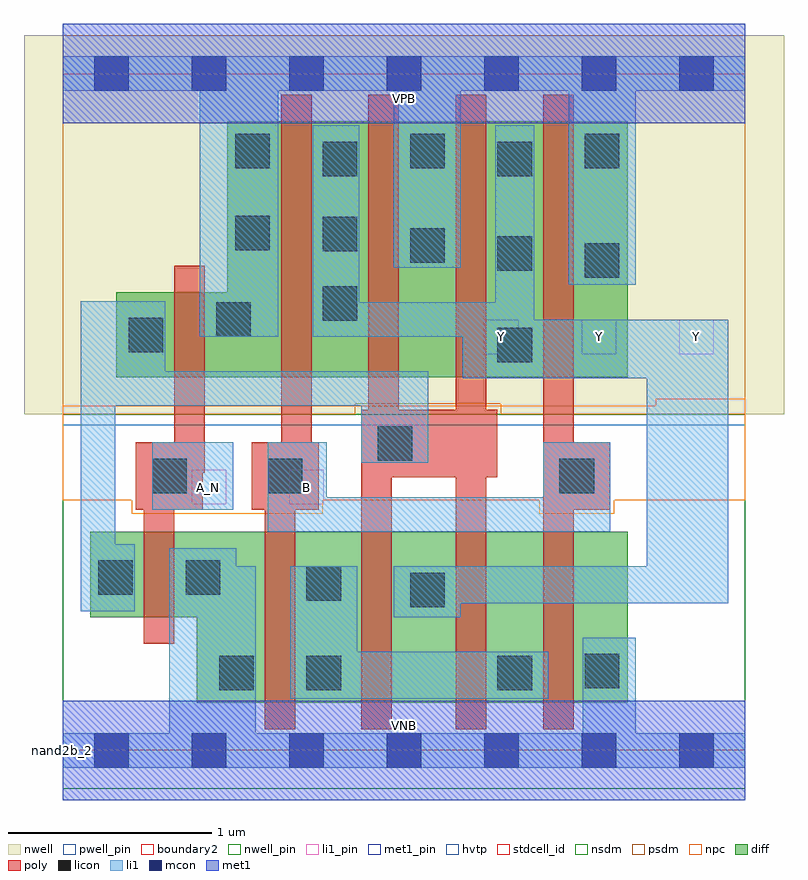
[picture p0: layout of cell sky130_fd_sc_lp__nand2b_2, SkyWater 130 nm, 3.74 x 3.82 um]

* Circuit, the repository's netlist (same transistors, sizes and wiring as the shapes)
* Copyright 2020 The SkyWater PDK Authors
*
* Licensed under the Apache License, Version 2.0 (the "License");
* you may not use this file except in compliance with the License.
* You may obtain a copy of the License at
*
*     https://www.apache.org/licenses/LICENSE-2.0
*
* Unless required by applicable law or agreed to in writing, software
* distributed under the License is distributed on an "AS IS" BASIS,
* WITHOUT WARRANTIES OR CONDITIONS OF ANY KIND, either express or implied.
* See the License for the specific language governing permissions and
* limitations under the License.
*
* SPDX-License-Identifier: Apache-2.0

.SUBCKT sky130_fd_sc_lp__nand2b_2 A_N B VGND VNB VPB VPWR Y
*.PININFO A_N:I B:I VGND:I VNB:I VPB:I VPWR:I Y:O
MMP0 Y A VPWR VPB sky130_fd_pr__pfet_01v8_hvt m=2 w=1.26U l=0.15U mult=1 sa=0.265
+ sb=0.265 sd=0.28 area=0.063 perim=1.14
MMP1 Y B VPWR VPB sky130_fd_pr__pfet_01v8_hvt m=2 w=1.26U l=0.15U mult=1 sa=0.265
+ sb=0.265 sd=0.28 area=0.063 perim=1.14
MMIP0 A A_N VPWR VPB sky130_fd_pr__pfet_01v8_hvt m=1 w=0.42U l=0.15U mult=1 sa=0.265
+ sb=0.265 sd=0.28 area=0.063 perim=1.14
MMN0 Y A sndA VNB sky130_fd_pr__nfet_01v8 m=2 w=0.84U l=0.15U mult=1 sa=0.265 sb=0.265
+ sd=0.28 area=0.063 perim=1.14
MMN1 sndA B VGND VNB sky130_fd_pr__nfet_01v8 m=2 w=0.84U l=0.15U mult=1 sa=0.265
+ sb=0.265 sd=0.28 area=0.063 perim=1.14
MMIN0 A A_N VGND VNB sky130_fd_pr__nfet_01v8 m=1 w=0.42U l=0.15U mult=1 sa=0.265
+ sb=0.265 sd=0.28 area=0.063 perim=1.14
.ENDS sky130_fd_sc_lp__nand2b_2

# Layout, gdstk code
import gdstk
lib = gdstk.Library(unit=1e-6, precision=1e-09)
def R(c, l, rs):  # rectangles x0, y0, x1, y1
    for r in rs: c.add(gdstk.rectangle(r[:2], r[2:], *l))
def A(c, l, x, y, w, h, nx, ny, dx, dy):  # array of equal rectangles
    R(c, l, [(x+i*dx, y+j*dy, x+i*dx+w, y+j*dy+h) for i in range(nx) for j in range(ny)])
def P(c, l, *ps):  # polygons
    for p in ps: c.add(gdstk.Polygon(p, *l))
nwell_pin = (64, 16)
nwell = (64, 20)
diff = (65, 20)
poly = (66, 20)
licon = (66, 44)
li1_pin = (67, 16)
li1 = (67, 20)
mcon = (67, 44)
met1_pin = (68, 16)
met1 = (68, 20)
hvtp = (78, 44)
stdcell_id = (81, 4)
nsdm = (93, 44)
psdm = (94, 20)
npc = (95, 20)
pwell_pin = (122, 16)
boundary2 = (236, 0)

sky130_fd_sc_lp__nand2b_ = lib.new_cell('sky130_fd_sc_lp__nand2b_2')
R(sky130_fd_sc_lp__nand2b_, nwell_pin, [(0,3.085,3.36,3.33)])
R(sky130_fd_sc_lp__nand2b_, nwell, [(-0.19,1.655,3.55,3.52)])
P(sky130_fd_sc_lp__nand2b_, diff, [(2.78,3.095),(0.81,3.095),(0.81,2.255),(0.265,2.255),(0.265,1.835),(2.78,1.835)],
  [(2.78,1.075),(0.135,1.075),(0.135,0.655),(0.66,0.655),(0.66,0.235),(2.78,0.235)])
P(sky130_fd_sc_lp__nand2b_, poly, [(0.7,2.385),(0.55,2.385),(0.55,1.515),(0.36,1.515),(0.36,1.185),(0.4,1.185),(0.4,0.525),(0.55,0.525),(0.55,1.185),(0.69,1.185),(0.69,1.365),(0.7,1.365)],
  [(1.26,1.515),(1.225,1.515),(1.225,3.225),(1.075,3.225),(1.075,1.515),(0.93,1.515),(0.93,1.185),(0.995,1.185),(0.995,0.105),(1.145,0.105),(1.145,1.185),(1.26,1.185)],
  [(2.14,1.675),(2.085,1.675),(2.085,3.225),(1.935,3.225),(1.935,1.675),(1.655,1.675),(1.655,3.225),(1.505,3.225),(1.505,1.675),(1.47,1.675),(1.47,0.105),(1.62,0.105),(1.62,1.345),(1.935,1.345),(1.935,0.105),(2.085,0.105),(2.085,1.345),(2.14,1.345)],
  [(2.695,1.515),(2.515,1.515),(2.515,3.225),(2.365,3.225),(2.365,0.105),(2.515,0.105),(2.515,1.185),(2.695,1.185)])
A(sky130_fd_sc_lp__nand2b_, licon, 0.85, 2.865, 0.17, 0.17, 3, 1, 0.86, 0)
R(sky130_fd_sc_lp__nand2b_, licon, [(0.77,0.295,0.94,0.465), (1.2,0.295,1.37,0.465), (2.14,0.295,2.31,0.465), (2.57,0.305,2.74,0.475), (1.71,0.705,1.88,0.875), (1.2,0.735,1.37,0.905), (0.175,0.765,0.345,0.935), (0.605,0.765,0.775,0.935), (0.44,1.265,0.61,1.435), (1.01,1.265,1.18,1.435), (2.445,1.265,2.615,1.435), (1.55,1.425,1.72,1.595), (2.14,1.91,2.31,2.08), (0.325,1.96,0.495,2.13), (0.755,2.035,0.925,2.205), (1.28,2.115,1.45,2.285), (2.57,2.325,2.74,2.495), (2.14,2.36,2.31,2.53), (1.71,2.4,1.88,2.57), (1.28,2.455,1.45,2.625), (0.85,2.46,1.02,2.63), (1.28,2.825,1.45,2.995), (2.14,2.825,2.31,2.995)])
A(sky130_fd_sc_lp__nand2b_, li1_pin, 2.075, 1.95, 0.17, 0.17, 3, 1, 0.48, 0)
R(sky130_fd_sc_lp__nand2b_, li1_pin, [(0.635,1.21,0.805,1.38), (1.115,1.21,1.285,1.38)])
R(sky130_fd_sc_lp__nand2b_, li1, [(0.44,1.185,0.84,1.515)])
P(sky130_fd_sc_lp__nand2b_, li1, [(1.63,2.375),(1.63,3.245),(1.06,3.245),(1.06,2.035),(0.675,2.035),(0.675,3.245),(0,3.245),(0,3.415),(3.36,3.415),(3.36,3.245),(2.82,3.245),(2.82,2.29),(2.49,2.29),(2.49,3.245),(1.96,3.245),(1.96,2.375)],
  [(3.36,0.085),(2.82,0.085),(2.82,0.555),(2.56,0.555),(2.56,0.085),(0.95,0.085),(0.95,0.905),(0.855,0.905),(0.855,0.995),(0.525,0.995),(0.525,0.085),(0,0.085),(0,-0.085),(3.36,-0.085)],
  [(1.3,1.245),(2.365,1.245),(2.365,1.515),(2.695,1.515),(2.695,1.075),(1.01,1.075),(1.01,1.515),(1.3,1.515)],
  [(0.505,1.865),(1.8,1.865),(1.8,1.415),(1.47,1.415),(1.47,1.695),(0.26,1.695),(0.26,1.015),(0.355,1.015),(0.355,0.685),(0.09,0.685),(0.09,2.21),(0.505,2.21)],
  [(1.45,0.485),(2.39,0.485),(2.39,0.255),(1.12,0.255),(1.12,0.905),(1.45,0.905)],
  [(3.275,2.12),(2.32,2.12),(2.32,3.075),(2.13,3.075),(2.13,2.205),(1.46,2.205),(1.46,3.075),(1.23,3.075),(1.23,2.035),(1.97,2.035),(1.97,1.83),(2.875,1.83),(2.875,0.905),(1.63,0.905),(1.63,0.655),(1.96,0.655),(1.96,0.725),(3.275,0.725)])
A(sky130_fd_sc_lp__nand2b_, mcon, 0.155, -0.085, 0.17, 0.17, 7, 2, 0.48, 3.33)
R(sky130_fd_sc_lp__nand2b_, met1_pin, [(0,0,3.36,0.245), (0,3.085,3.36,3.33)])
R(sky130_fd_sc_lp__nand2b_, met1, [(0,-0.245,3.36,0.245), (0,3.085,3.36,3.575)])
R(sky130_fd_sc_lp__nand2b_, hvtp, [(0,1.6,3.36,3.33)])
R(sky130_fd_sc_lp__nand2b_, stdcell_id, [(0,0,3.36,3.33)])
R(sky130_fd_sc_lp__nand2b_, nsdm, [(0,-0.19,3.36,1.655)])
P(sky130_fd_sc_lp__nand2b_, psdm, [(3.36,3.52),(0,3.52),(0,1.655),(1.44,1.655),(1.44,1.705),(2.155,1.705),(2.155,1.655),(3.36,1.655)])
P(sky130_fd_sc_lp__nand2b_, npc, [(3.36,1.73),(2.92,1.73),(2.92,1.695),(0,1.695),(0,1.23),(0.34,1.23),(0.34,1.165),(1.28,1.165),(1.28,1.23),(2.345,1.23),(2.345,1.165),(2.715,1.165),(2.715,1.23),(3.36,1.23)])
R(sky130_fd_sc_lp__nand2b_, pwell_pin, [(0,0,3.36,0.245)])
R(sky130_fd_sc_lp__nand2b_, boundary2, [(0,0,3.36,3.33)])
sky130_fd_sc_lp__nand2b_.add(gdstk.Label('VNB', (1.68,0.123), layer=64, texttype=59))
sky130_fd_sc_lp__nand2b_.add(gdstk.Label('VPB', (1.68,3.208), layer=64, texttype=5))
sky130_fd_sc_lp__nand2b_.add(gdstk.Label('nand2b_2', (0,0), layer=83, texttype=44))
sky130_fd_sc_lp__nand2b_.add(gdstk.Label('VPWR', (1.68,3.208), layer=68, texttype=5))
sky130_fd_sc_lp__nand2b_.add(gdstk.Label('VGND', (1.68,0.123), layer=68, texttype=5))
sky130_fd_sc_lp__nand2b_.add(gdstk.Label('Y', (2.16,2.035), layer=67, texttype=5))
sky130_fd_sc_lp__nand2b_.add(gdstk.Label('Y', (2.64,2.035), layer=67, texttype=5))
sky130_fd_sc_lp__nand2b_.add(gdstk.Label('Y', (3.12,2.035), layer=67, texttype=5))
sky130_fd_sc_lp__nand2b_.add(gdstk.Label('A_N', (0.72,1.295), layer=67, texttype=5))
sky130_fd_sc_lp__nand2b_.add(gdstk.Label('B', (1.2,1.295), layer=67, texttype=5))

lib.write_gds('sky130_fd_sc_lp__nand2b_2.gds')
